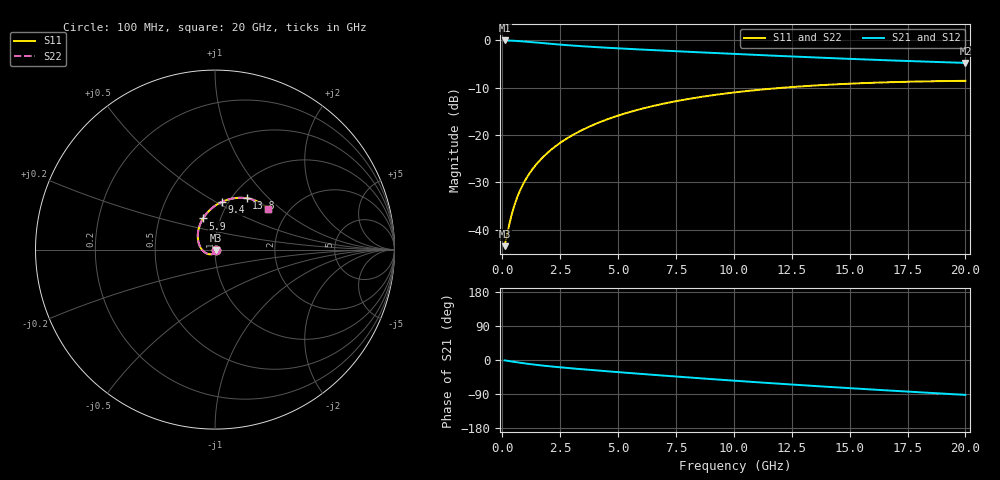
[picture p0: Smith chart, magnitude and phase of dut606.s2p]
! Touchstone file exported from HFSS 2024.1.0
!  File:  C:/UserFiles/LocalFiles/RDL_TSV_Batchsim/temp_RDL_TSV_606_1779798182.aedt
!  Generated:  08:37:41 PM May 26, 2026
!  Design:  RDL_TSV
!  Project:  temp_RDL_TSV_606_1779798182
!  Setup:  Setup1
!  Solution:  Sweep
! Variables:
!  dtsv = 12.06um
!  hbump = 3um
!  htsv = 57.24um
!  ldown = 144.13um
!  lrdl = 170.79um
!  p = 40
!  p1 = 55.49um
!  rhole = 10um
!  subl = 1115.55um
!  t = 450um
!  tdown = 4.02um
!  trdl = 2.81um
!  viad = 10um
!  wdown = 18.95um
!  wrdl = 29.19um
!  xbump = 18um
# GHz S MA R 50.000000
! Terminal data exported
! Port[1] = TM1_1_T1
! Port[2] = TM1_4_T1
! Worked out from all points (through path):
!   200 points, 100 MHz to 20 GHz, reference 50 ohm
!   highest |S21| = -0.06 dB at 100 MHz (marker M1); lowest = -4.8 dB at 20 GHz (marker M2)
!   group delay of S21, straight-line fit = 12 ps
!   lowest |S11| = -43.5 dB at 100 MHz (marker M3), VSWR 1.01, Z = 50.6 - j0.361 ohm
!   |S11| at or under -10 dB: start of sweep to 12.19 GHz
!   |S22| runs from -43.5 to -8.6 dB; largest |S21 - S12| = 5.8e-14
!   S11 on the Smith chart (normalised r, x): 100 MHz: 1.01, -0.01; 5.9 GHz: 0.83, +0.30; 9.4 GHz: 0.93, +0.54; 13.8 GHz: 1.17, +0.75; 20 GHz: 1.59, +0.82
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0.1  0.006715 -32.1  0.9937 -1.0  0.9937 -1.0  0.006715 -32.1
! Gamma 0 0 0 0
! Port Impedance 50 0 50 0
0.3  0.01137 -71.7  0.9907 -3.0  0.9907 -3.0  0.01137 -71.7
0.4  0.01431 -83.8  0.9885 -3.9  0.9885 -3.9  0.01431 -83.8
0.6  0.02059 -102.0  0.9827 -5.8  0.9827 -5.8  0.02059 -102.0
0.7  0.02382 -109.5  0.9792 -6.7  0.9792 -6.7  0.02382 -109.5
0.9  0.03034 -122.6  0.9713 -8.4  0.9713 -8.4  0.03034 -122.6
1.2  0.04017 -139.2  0.9577 -10.8  0.9577 -10.8  0.04017 -139.2
1.4  0.04674 -149.0  0.9481 -12.3  0.9481 -12.3  0.04674 -149.0
1.7  0.05657 -161.9  0.9336 -14.4  0.9336 -14.4  0.05657 -161.9
2.2  0.07288 180.0  0.9105 -17.6  0.9105 -17.6  0.07288 180.0
2.8  0.09225 162.6  0.886 -21.0  0.886 -21.0  0.09226 162.6
3.5  0.1145 146.6  0.8618 -24.6  0.8618 -24.6  0.1145 146.6
4.6  0.1483 127.6  0.8305 -30.1  0.8305 -30.1  0.1483 127.6
5.9  0.1857 111.1  0.7994 -36.3  0.7994 -36.3  0.1858 111.1
6.8  0.2098 101.9  0.7799 -40.4  0.7799 -40.4  0.2098 101.9
8  0.2391 91.7  0.7552 -45.9  0.7552 -45.9  0.2391 91.7
9.4  0.2692 81.7  0.7281 -52.0  0.7281 -52.0  0.2693 81.7
10.1  0.2826 77.2  0.7151 -55.0  0.7151 -55.0  0.2826 77.2
13.4  0.3316 60.1  0.6591 -68.3  0.6591 -68.3  0.3316 60.1
13.8  0.336 58.4  0.653 -69.8  0.653 -69.8  0.3361 58.4
16.7  0.3602 47.2  0.6128 -80.5  0.6128 -80.5  0.3602 47.2
20  0.3725 36.9  0.5764 -92.0  0.5764 -92.0  0.3725 36.9
